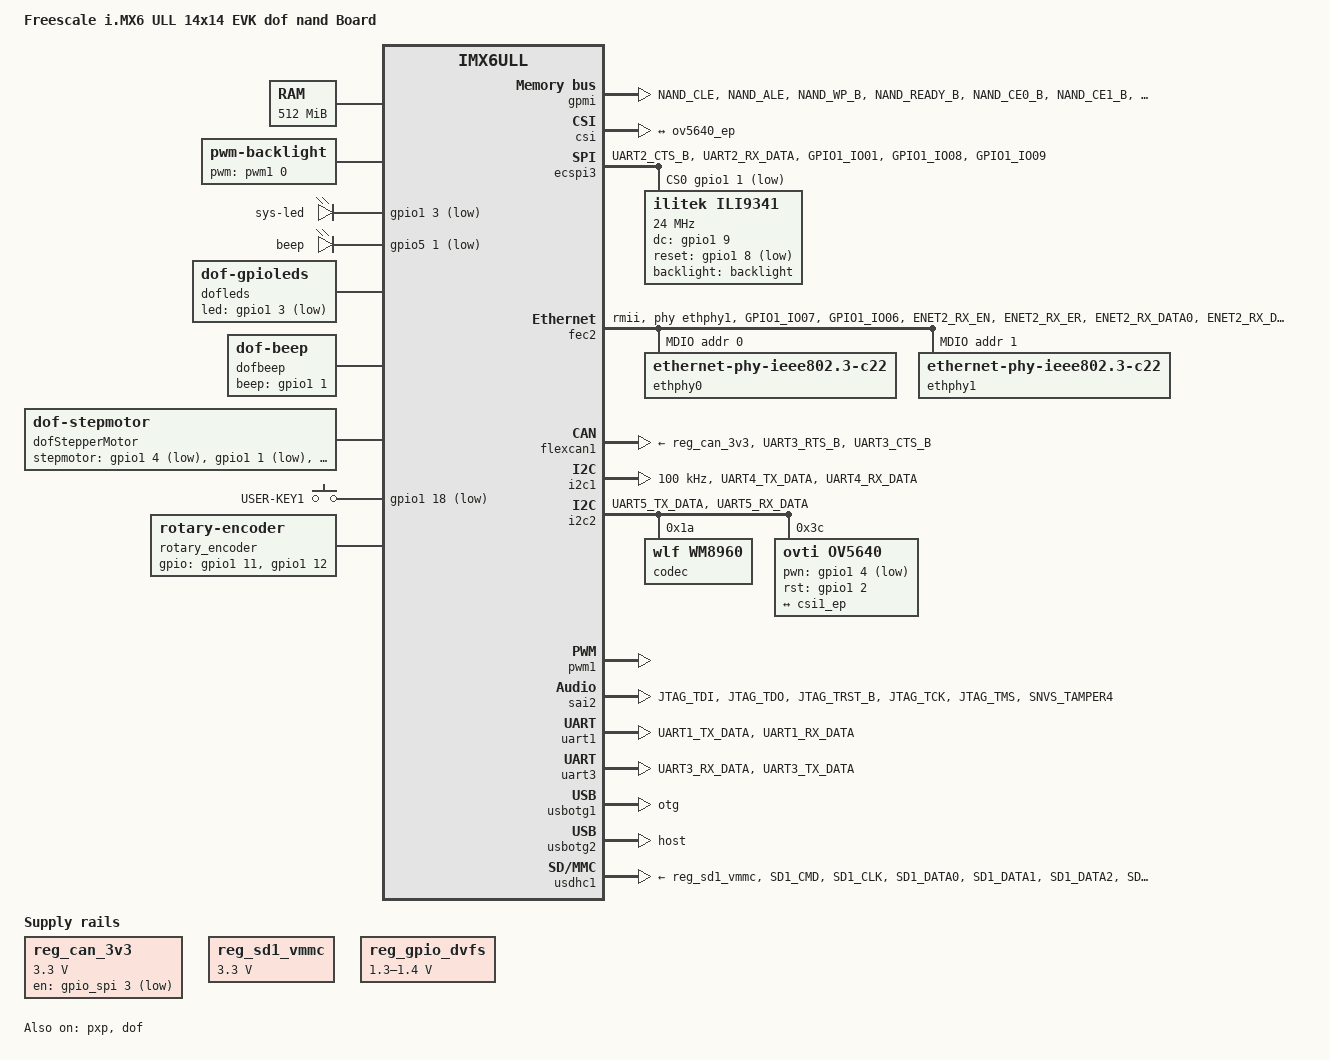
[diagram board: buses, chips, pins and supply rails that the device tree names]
/*
 * Copyright (C) 2016 Freescale Semiconductor, Inc.
 *
 * This program is free software; you can redistribute it and/or modify
 * it under the terms of the GNU General Public License version 2 as
 * published by the Free Software Foundation.
 */

/dts-v1/;

#include <dt-bindings/input/input.h>
#include "imx6ull.dtsi"

/ {
	model = "Freescale i.MX6 ULL 14x14 EVK dof nand Board";
	compatible = "fsl,imx6ull-14x14-evk-dof-nand", "fsl,imx6ull";

	chosen {
		stdout-path = &uart1;		 /*  确定终端输出console		chose 节点主要是为了uboot向linux 内核传递参数						*/
	};

	memory {
		reg = <0x80000000 0x20000000>;
	};

	reserved-memory {
		#address-cells = <1>;
		#size-cells = <1>;
		ranges;

		linux,cma {
			compatible = "shared-dma-pool";
			reusable;
			size = <0x8000000>;
			linux,cma-default;
		};
	};

	backlight: backlight {
		compatible = "pwm-backlight";
		pwms = <&pwm1 0 5000000>;
		brightness-levels = <0 4 8 16 32 64 128 255>;
		default-brightness-level = <6>;
		status = "okay";
	};

	pxp_v4l2 {
		compatible = "fsl,imx6ul-pxp-v4l2", "fsl,imx6sx-pxp-v4l2", "fsl,imx6sl-pxp-v4l2";
		status = "okay";	/*	设备状态信息		 okey：设备可操作性, disabled: 设备当前不可操作，但是未来可操作，如热插拔，具体含义看设备的绑定属性，fal：设备检测到错误，不可能变的可操作性，fal-sss： 含义和fail相同，sss标识错误内容			*/
	};

	regulators {
		compatible = "simple-bus";
		#address-cells = <1>;	 /*  子节点reg属性中地址信息所占的字长，  */
		#size-cells = <0>;		 /*   子节点reg 长度信息所占的字长*/

		reg_can_3v3: regulator@0 {
			compatible = "regulator-fixed";
			reg = <0>;
			regulator-name = "can-3v3";
			regulator-min-microvolt = <3300000>;
			regulator-max-microvolt = <3300000>;
			gpios = <&gpio_spi 3 GPIO_ACTIVE_LOW>;
		};

		reg_sd1_vmmc: regulator@1 {
			compatible = "regulator-fixed";
			regulator-name = "VSD_3V3";
			regulator-min-microvolt = <3300000>;
			regulator-max-microvolt = <3300000>;
			/* gpio = <&gpio1 9 GPIO_ACTIVE_HIGH>; */
			enable-active-high;
		};

		reg_gpio_dvfs: regulator-gpio {
			compatible = "regulator-gpio";
			pinctrl-names = "default";
			pinctrl-0 = <&pinctrl_dvfs>;
			regulator-min-microvolt = <1300000>;
			regulator-max-microvolt = <1400000>;
			regulator-name = "gpio_dvfs";
			regulator-type = "voltage";
			gpios = <&gpio5 3 GPIO_ACTIVE_HIGH>;
			states = <1300000 0x1 1400000 0x0>;
		};
	};

	leds {
		compatible = "gpio-leds";
		pinctrl-names = "default";
		pinctrl-0 = <&pinctrl_gpio_leds
				 &pinctrl_beep
				 >;

		led1{
			label = "sys-led";
			gpios = <&gpio1 3 GPIO_ACTIVE_LOW>;
			linux,default-trigger = "heartbeat";
			default-state = "off";
		};

		beep{
			label = "beep";
			gpios = <&gpio5 1 GPIO_ACTIVE_LOW>;
			default-state = "off";
		};

	};

	dof {
		#address-cells = <1>;
		#size-cells = <1>;
		compatible = "dof-led";
		status = "okay";
		reg = < 0X020C406C 0X04 /* CCM_CCGR1_BASE */
				0X020E0068 0X04 /* SW_MUX_GPIO1_IO03_BASE */
				0X020E02F4 0X04 /* SW_PAD_GPIO1_IO03_BASE */
				0X0209C000 0X04 /* GPIO1_DR_BASE */
				0X0209C004 0X04 >; /* GPIO1_GDIR_BASE */
	};

	dofleds {
		#address-cells = <1>;
		#size-cells = <1>;
		compatible = "dof-gpioleds";
		pinctrl-names = "default";
		pinctrl-0 = <&pinctrl_gpio_leds>;
		led-gpio = <&gpio1 3 GPIO_ACTIVE_LOW>;
		status = "okay";
	};

	dofbeep {
		#address-cells = <1>;
		#size-cells = <1>;
		compatible = "dof-beep";
		pinctrl-name = "default";
		pinctrl-0 = <&pinctrl_beep>;
		beep-gpio = <&gpio1 1 GPIO_ACTIVE_HIGH>;
		status = "okay";
	};

	red_led_pwm {
		compatible = "red_led,pwm";
		pinctrl-names = "default";
		pinctrl-0 = <&red_led_pwm>;

		back {
			pwm-names = "red_led_pwm";
			pwms = <&pwm3 0 50000>;  /* 使用 pwm3 0 50000ns 1/0.00005ms = 20kHz */
		};
	};

	dofStepperMotor {
		#address-cells = <1>;
		#size-cells = <1>;
		compatible = "dof-stepmotor";
		pinctrl-name = "default";
		pinctrl-0 = <&pinctrl_stepper>;
		stepmotor-gpios = <&gpio1 4 GPIO_ACTIVE_LOW>,
						  <&gpio1 1 GPIO_ACTIVE_LOW>,
						  <&gpio1 2 GPIO_ACTIVE_LOW>,
						  <&gpio1 3 GPIO_ACTIVE_LOW>;
		status = "okay";
	};

	gpio_keys {
		compatible = "gpio-keys";
		pinctrl-names = "default";
		pinctrl-0 = <&pinctrl_gpio_keys>;
		#address-cells = <1>;
		#size-cells = <0>;
		/* autorepeat;		重复功能 */

		key1 {
			label = "USER-KEY1";
			linux,code = <114>;
			gpios = <&gpio1 18 GPIO_ACTIVE_LOW>;
			/* gpio-key,wakeup; 唤醒事件 */
		};

		/* key2 {
			label = "USER-KEY2";
			linux,code = <115>;
			gpios = <&gpio1 9 GPIO_ACTIVE_LOW>;
			gpio-key,wakeup;
		}; */

	};

	/* 正交编码器 (GPIO A/B 相: GPIO1_IO11, GPIO1_IO12) */
	rotary_encoder: rotary-encoder@0 {
		compatible = "rotary-encoder";
		pinctrl-names = "default";
		pinctrl-0 = <&pinctrl_rotary>;
		gpios = <&gpio1 11 0>, <&gpio1 12 0>;  /* A相, B相 */
		linux,axis = <0>;   /* REL_X */
		rotary-encoder,relative-axis;  /* 相对轴，输出 +1/-1 事件 */
		/* 若需绝对轴可改为: rotary-encoder,steps = <24>; rotary-encoder,rollover; */
		status = "okay";
	};

	sound {
		compatible = "fsl,imx6ul-evk-wm8960",
			   "fsl,imx-audio-wm8960";		/*	与of_match_table 中的 of_device_id 中的compatible匹配		*/
		model = "wm8960-audio";			 /*  描述设备模块信息 */
		cpu-dai = <&sai2>;
		audio-codec = <&codec>;
		asrc-controller = <&asrc>;
		codec-master;
		gpr = <&gpr 4 0x100000 0x100000>;
		/*
				 * hp-det = <hp-det-pin hp-det-polarity>;
		 * hp-det-pin: JD1 JD2	or JD3
		 * hp-det-polarity = 0: hp detect high for headphone
		 * hp-det-polarity = 1: hp detect high for speaker
		 */
		hp-det = <3 0>;
		/* hp-det-gpios = <&gpio5 4 0>;
		   mic-det-gpios = <&gpio5 4 0>; */
		audio-routing =
			"Headphone Jack", "HP_L",
			"Headphone Jack", "HP_R",
			"Ext Spk", "SPK_LP",
			"Ext Spk", "SPK_LN",
			"Ext Spk", "SPK_RP",
			"Ext Spk", "SPK_RN",
			"LINPUT2", "Mic Jack",
			"LINPUT3", "Mic Jack",
			"RINPUT1", "Main MIC",
			"RINPUT2", "Main MIC",
			"Mic Jack", "MICB",
			"Main MIC", "MICB",
			"CPU-Playback", "ASRC-Playback",
			"Playback", "CPU-Playback",
			"ASRC-Capture", "CPU-Capture",
			"CPU-Capture", "Capture";
	};

	spi4 {
		compatible = "spi-gpio";
		pinctrl-names = "default";
		pinctrl-0 = <&pinctrl_spi4>;
		pinctrl-assert-gpios = <&gpio5 8 GPIO_ACTIVE_LOW>;
		status = "disabled";
		gpio-sck = <&gpio5 11 0>;
		gpio-mosi = <&gpio5 10 0>;
		cs-gpios = <&gpio5 7 0>;
		num-chipselects = <1>;
		#address-cells = <1>;
		#size-cells = <0>;

		gpio_spi: gpio_spi@0 {
			compatible = "fairchild,74hc595";
			gpio-controller;
			#gpio-cells = <2>;
			reg = <0>;
			registers-number = <1>;
			registers-default = /bits/ 8 <0x57>;
			spi-max-frequency = <100000>;
		};
	};
};


&gpmi {
	pinctrl-names = "default";
	pinctrl-0 = <&pinctrl_gpmi_nand>;
	status = "okay";
	nand-on-flash-bbt;

	compatible = "fsl,imx6ull-gpmi-nand", "fsl,imx-gpmi-nand"; /* 或其他具体的NAND兼容字符串 */
	#address-cells = <1>;
	#size-cells = <1>;

	compatible = "fsl,imx6ull-gpmi-nand", "fsl,imx-gpmi-nand"; /* 或其他具体的NAND兼容字符串 */
	#address-cells = <1>;
	#size-cells = <1>;

	partition@0 {
		label = "uboot_a";
		reg = <0x0 0x00800000>; /* 8MB for primary uboot */
	};
	partition@800000 {
		label = "uboot_b";
		reg = <0x00800000 0x00800000>; /* 8MB for backup uboot */
	};
	partition@1000000 {
		label = "kfd_a";
		reg = <0x01000000 0x02000000>; /* 32MB for primary kernel+fdt */
	};
	partition@3000000 {
		label = "kfd_b";
		reg = <0x03000000 0x02000000>; /* 32MB for backup kernel+fdt */
	};
	partition@5000000 {
		label = "tee_a";
		reg = <0x05000000 0x01000000>; /* 16MB for primary tee */
	};
	partition@6000000 {
		label = "tee_b";
		reg = <0x06000000 0x01000000>; /* 16MB for backup tee */
	};
	partition@7000000 {
		label = "env_a";
		reg = <0x07000000 0x00020000>; /* 128KB for primary env */
	};
	partition@7020000 {
		label = "env_b";
		reg = <0x07020000 0x00020000>; /* 128KB for backup env */
	};
	partition@7040000 {
		label = "rootfs_a";
		reg = <0x07040000 0x0AF00000>; /* 175MB for primary rootfs */
	};
	partition@11f40000 {
		label = "rootfs_b";
		reg = <0x11f40000 0x0AF00000>; /* 175MB for backup rootfs */
	};
	partition@1ce40000 {
		label = "date";
		reg = <0x1ce40000 0x03200000>; /* 50MB for user data */
	};

	/* 上面是linux 4.1.15 版本 兼容的分区方式， 下面是 高版本的分区方式
    nand@0 {
		reg = <0 0>;
        compatible = "fsl,imx6ull-gpmi-nand", "fsl,imx-gpmi-nand";
        #address-cells = <1>;
        #size-cells = <1>;

        partitions {
            compatible = "fixed-partitions";
            #address-cells = <1>;
            #size-cells = <1>;

            partition@0 {
                label = "uboot";
                reg = <0x0 0x04000000>;
            };
            partition@4000000 {
                label = "kernel";
                reg = <0x04000000 0x01000000>;
            };
            partition@5000000 {
                label = "dtb";
                reg = <0x05000000 0x01000000>;
            };
            partition@6000000 {
                label = "nandtee";
                reg = <0x06000000 0x01000000>;
		partition@7000000 {
                label = "rootfs";
                reg = <0x07000000 0>;
            };
        };
    };
    */
};



&cpu0 {
	arm-supply = <&reg_arm>;
	soc-supply = <&reg_soc>;
	dc-supply = <&reg_gpio_dvfs>;
};

&clks {
	assigned-clocks = <&clks IMX6UL_CLK_PLL4_AUDIO_DIV>;
	assigned-clock-rates = <722534400>;
};

&csi {
	status = "okay";

	port {
		csi1_ep: endpoint {
			remote-endpoint = <&ov5640_ep>;
		};
	};
};


&ecspi3 {
	status = "okay";
	pinctrl-names = "default";
	pinctrl-0 = <&pinctrl_ecspi3>;
	fsl,spi-num-chipselects = <1>;
	cs-gpios = <&gpio1 1 GPIO_ACTIVE_LOW>;

    ili9341@0 {
        compatible = "ilitek,ili9341"; /* 或 ilitek,ili9431（若驱动存在） */
        reg = <0>;
        spi-max-frequency = <24000000>;
		rotate = <90>;
        dc-gpios = <&gpio1 9 GPIO_ACTIVE_HIGH>;
        reset-gpios = <&gpio1 8 GPIO_ACTIVE_LOW>;
        buswidth = <8>;
        backlight = <&backlight>;
        bgr; /* R/B 颜色相反时加上此项，驱动会设置 MADCTL 的 BGR 位修正显示 */
    };
};

/* &ecspi3 {
		fsl,spi-num-chipselects = <1>;
		cs-gpio = <&gpio1 20 GPIO_ACTIVE_LOW>;
		pinctrl-names = "default";
		pinctrl-0 = <&pinctrl_ecspi3>;
		status = "okay";

	spidev: icm20608@0 {
	compatible = "dof,icm20608";
		spi-max-frequency = <8000000>;
		reg = <0>;
	};
}; */

/* &fec1 {
	pinctrl-names = "default";
	pinctrl-0 = <&pinctrl_enet1
			 &pinctrl_fec1_reset>;
	phy-mode = "rmii";
	phy-handle = <&ethphy0>;
	phy-reset-gpios = <&gpio5 7 GPIO_ACTIVE_LOW>;
	phy-reset-duration = <26>;
	status = "okay";
}; */

&fec2 {
	pinctrl-names = "default";
	pinctrl-0 = <&pinctrl_enet2
			 &pinctrl_fec2_reset>;
	phy-mode = "rmii";
	phy-handle = <&ethphy1>;
	phy-reset-gpios = <&gpio5 8 GPIO_ACTIVE_LOW>;
	phy-reset-duration = <26>;
	status = "okay";

	mdio {
		#address-cells = <1>;
		#size-cells = <0>;

		ethphy0: ethernet-phy@2 {
			compatible = "ethernet-phy-ieee802.3-c22";
			reg = <0>;
		};

		ethphy1: ethernet-phy@1 {
			compatible = "ethernet-phy-ieee802.3-c22";
			reg = <1>;
		};
	};
};

&flexcan1 {
	pinctrl-names = "default";
	pinctrl-0 = <&pinctrl_flexcan1>;
	xceiver-supply = <&reg_can_3v3>;
	status = "okay";
};

&flexcan2 {
	pinctrl-names = "default";
	pinctrl-0 = <&pinctrl_flexcan2>;
	xceiver-supply = <&reg_can_3v3>;
	status = "disabled";
};

&gpc {
	fsl,cpu_pupscr_sw2iso = <0x1>;
	fsl,cpu_pupscr_sw = <0x0>;
	fsl,cpu_pdnscr_iso2sw = <0x1>;
	fsl,cpu_pdnscr_iso = <0x1>;
	fsl,ldo-bypass = <0>; /* DCDC, ldo-enable */
};

&i2c1 {
	clock-frequency = <100000>;
	pinctrl-names = "default";
	pinctrl-0 = <&pinctrl_i2c1>;
	status = "okay";

	/* mag3110@0e {
		compatible = "fsl,mag3110";
		reg = <0x0e>;
		position = <2>;
	}; */

	/* oled: oled@3c {
		compatible = "solomon,ssd1306fb-i2c";
		reg = <0x3c>;
		solomon,width = <128>;
		solomon,height = <64>;
		solomon,page-offset = <0>;
		reset-gpios = <&gpio5 7 GPIO_ACTIVE_LOW>;
	}; */

	/* atm24c02@50 {
		compatible = "dof,atm24c02";
		reg = <0x50>;
	}; */

	/* hmc5883@1e {
		compatible = "dof,hmc5883";
		reg = <0x1e>;
	}; */
};

&i2c2 {
	clock_frequency = <100000>;
	pinctrl-names = "default";
	pinctrl-0 = <&pinctrl_i2c2>;
	status = "okay";

	codec: wm8960@1a {
		compatible = "wlf,wm8960";
		reg = <0x1a>;
		clocks = <&clks IMX6UL_CLK_SAI2>;
		clock-names = "mclk";
		wlf,shared-lrclk;
	};

	ov5640: ov5640@3c {
		compatible = "ovti,ov5640";
		reg = <0x3c>;
		pinctrl-names = "default";
		pinctrl-0 = <&pinctrl_csi1
				 &csi_pwn_rst>;
		clocks = <&clks IMX6UL_CLK_CSI>;
		clock-names = "csi_mclk";
		pwn-gpios = <&gpio1 4 1>;
		rst-gpios = <&gpio1 2 0>;
		csi_id = <0>;
		mclk = <24000000>;
		mclk_source = <0>;
		status = "okay";
		port {
			ov5640_ep: endpoint {
				remote-endpoint = <&csi1_ep>;
			};
		};
	};

	edt-ft5x06@38 {
		compatible = "edt,edt-ft5306", "edt,edt-ft5x06";
		pinctrl-names = "default";
		pinctrl-0 = <&ts_int_pin
				 &ts_reset_pin>;

		reg = <0x38>;
		interrupt-parent = <&gpio1>;
		interrupts = <9 0>;
		reset-gpios = <&gpio5 9 GPIO_ACTIVE_LOW>;

		status = "disabled";
	};

	goodix_ts@5d {
				compatible = "goodix,gt9xx";
				reg = <0x5d>;
				status = "disabled";
				interrupt-parent = <&gpio1>;
				interrupts = <9 0>;
				pinctrl-0 = <&ts_int_pin
				 &ts_reset_pin>;
		goodix,rst-gpio = <&gpio5 9  GPIO_ACTIVE_LOW>;
		goodix,irq-gpio = <&gpio1 9  GPIO_ACTIVE_LOW>;
	};
};

&iomuxc {
	pinctrl-names = "default";
	pinctrl-0 = <&pinctrl_hog_1>;
	imx6ul-evk {
		pinctrl_hog_1: hoggrp-1 {
			fsl,pins = <
				MX6UL_PAD_UART1_RTS_B__GPIO1_IO19	0x17059 /* SD1 CD */
				MX6UL_PAD_GPIO1_IO05__USDHC1_VSELECT	0x17059 /* SD1 VSELECT */
				MX6UL_PAD_GPIO1_IO00__ANATOP_OTG1_ID	0x13058 /* USB_OTG1_ID */
			>;
		};

		pinctrl_csi1: csi1grp {
			fsl,pins = <
				MX6UL_PAD_CSI_MCLK__CSI_MCLK		0x1b008
				MX6UL_PAD_CSI_PIXCLK__CSI_PIXCLK	0x1b008
				MX6UL_PAD_CSI_VSYNC__CSI_VSYNC		0x1b008
				MX6UL_PAD_CSI_HSYNC__CSI_HSYNC		0x1b008
				MX6UL_PAD_CSI_DATA00__CSI_DATA02	0x1b008
				MX6UL_PAD_CSI_DATA01__CSI_DATA03	0x1b008
				MX6UL_PAD_CSI_DATA02__CSI_DATA04	0x1b008
				MX6UL_PAD_CSI_DATA03__CSI_DATA05	0x1b008
				MX6UL_PAD_CSI_DATA04__CSI_DATA06	0x1b008
				MX6UL_PAD_CSI_DATA05__CSI_DATA07	0x1b008
				MX6UL_PAD_CSI_DATA06__CSI_DATA08	0x1b008
				MX6UL_PAD_CSI_DATA07__CSI_DATA09	0x1b008
			>;
		};

		pinctrl_enet1: enet1grp {
			fsl,pins = <
				MX6UL_PAD_ENET1_RX_EN__ENET1_RX_EN	0x1b0b0
				MX6UL_PAD_ENET1_RX_ER__ENET1_RX_ER	0x1b0b0
				MX6UL_PAD_ENET1_RX_DATA0__ENET1_RDATA00 0x1b0b0
				MX6UL_PAD_ENET1_RX_DATA1__ENET1_RDATA01 0x1b0b0
				MX6UL_PAD_ENET1_TX_EN__ENET1_TX_EN	0x1b0b0
				MX6UL_PAD_ENET1_TX_DATA0__ENET1_TDATA00 0x1b0b0
				MX6UL_PAD_ENET1_TX_DATA1__ENET1_TDATA01 0x1b0b0
				MX6UL_PAD_ENET1_TX_CLK__ENET1_REF_CLK1	0x4001b031
			>;
		};

		pinctrl_enet2: enet2grp {
			fsl,pins = <
				MX6UL_PAD_GPIO1_IO07__ENET2_MDC		0x1b0b0
				MX6UL_PAD_GPIO1_IO06__ENET2_MDIO	0x1b0b0
				MX6UL_PAD_ENET2_RX_EN__ENET2_RX_EN	0x1b0b0
				MX6UL_PAD_ENET2_RX_ER__ENET2_RX_ER	0x1b0b0
				MX6UL_PAD_ENET2_RX_DATA0__ENET2_RDATA00 0x1b0b0
				MX6UL_PAD_ENET2_RX_DATA1__ENET2_RDATA01 0x1b0b0
				MX6UL_PAD_ENET2_TX_EN__ENET2_TX_EN	0x1b0b0
				MX6UL_PAD_ENET2_TX_DATA0__ENET2_TDATA00 0x1b0b0
				MX6UL_PAD_ENET2_TX_DATA1__ENET2_TDATA01 0x1b0b0
				MX6UL_PAD_ENET2_TX_CLK__ENET2_REF_CLK2	0x4001b031
			>;
		};

		/* pinctrl_ecspi3: ecspi3grp {
			fsl,pins = <
				MX6UL_PAD_UART2_RTS_B__ECSPI3_MISO  0x100b1
				MX6UL_PAD_UART2_CTS_B__ECSPI3_MOSI  0x100b1
				MX6UL_PAD_UART2_RX_DATA__ECSPI3_SCLK 0x100b1
				MX6UL_PAD_UART2_TX_DATA__GPIO1_IO20  0x100b0
			>;
		}; */

		pinctrl_ecspi3: ecspi3grp {
			fsl,pins = <
				/* SPI 主控引脚 */
				MX6UL_PAD_UART2_CTS_B__ECSPI3_MOSI		0x100b1  /* MOSI*/
				MX6UL_PAD_UART2_RX_DATA__ECSPI3_SCLK	0x100b1  /* CLK*/
				
				/* 片选引脚 */
				MX6UL_PAD_GPIO1_IO01__GPIO1_IO01     0x100b1  /* CS */
				
				/* LCD 控制引脚 */
				MX6UL_PAD_GPIO1_IO08__GPIO1_IO08     0x100b1  /* RESET */
				MX6UL_PAD_GPIO1_IO09__GPIO1_IO09     0x100b1  /* DC/RS */
				
				/* 背光控制（可选） */
				/* MX6UL_PAD_GPIO1_IO10__GPIO1_IO10     0x100b1 */  /* BL */
			>;
		};

		pinctrl_gpio_leds: gpio-leds {
 			fsl,pins = <
 				MX6UL_PAD_GPIO1_IO03__GPIO1_IO03	0x17059
 				/* MX6UL_PAD_UART5_TX_DATA__GPIO1_IO30 0x17059 */
 			>;
		};

		pinctrl_gpio_keys: gpio-keys {
			fsl,pins = <
				MX6UL_PAD_UART1_CTS_B__GPIO1_IO18	0xF080
			>;
		};

		pinctrl_flexcan1: flexcan1grp{
			fsl,pins = <
				MX6UL_PAD_UART3_RTS_B__FLEXCAN1_RX	0x1b020
				MX6UL_PAD_UART3_CTS_B__FLEXCAN1_TX	0x1b020
			>;
		};

		pinctrl_flexcan2: flexcan2grp{
			fsl,pins = <
				MX6UL_PAD_UART2_RTS_B__FLEXCAN2_RX	0x1b020
				MX6UL_PAD_UART2_CTS_B__FLEXCAN2_TX	0x1b020
			>;
		};

		pinctrl_i2c1: i2c1grp {
			fsl,pins = <
				MX6UL_PAD_UART4_TX_DATA__I2C1_SCL 0x4001b8b0
				MX6UL_PAD_UART4_RX_DATA__I2C1_SDA 0x4001b8b0
			>;
		};

		pinctrl_i2c2: i2c2grp {
			fsl,pins = <
				MX6UL_PAD_UART5_TX_DATA__I2C2_SCL 0x4001b8b0
				MX6UL_PAD_UART5_RX_DATA__I2C2_SDA 0x4001b8b0
			>;
		};

		/* pinctrl_lcdif_dat: lcdifdatgrp {
			fsl,pins = <
				MX6UL_PAD_LCD_DATA00__LCDIF_DATA00	0x18
				MX6UL_PAD_LCD_DATA01__LCDIF_DATA01	0x18
				MX6UL_PAD_LCD_DATA02__LCDIF_DATA02	0x18
				MX6UL_PAD_LCD_DATA03__LCDIF_DATA03	0x18
				MX6UL_PAD_LCD_DATA04__LCDIF_DATA04	0x18
				MX6UL_PAD_LCD_DATA05__LCDIF_DATA05	0x18
				MX6UL_PAD_LCD_DATA06__LCDIF_DATA06	0x18
				MX6UL_PAD_LCD_DATA07__LCDIF_DATA07	0x18
				MX6UL_PAD_LCD_DATA08__LCDIF_DATA08	0x18
				MX6UL_PAD_LCD_DATA09__LCDIF_DATA09	0x18
				MX6UL_PAD_LCD_DATA10__LCDIF_DATA10	0x18
				MX6UL_PAD_LCD_DATA11__LCDIF_DATA11	0x18
				MX6UL_PAD_LCD_DATA12__LCDIF_DATA12	0x18
				MX6UL_PAD_LCD_DATA13__LCDIF_DATA13	0x18
				MX6UL_PAD_LCD_DATA14__LCDIF_DATA14	0x18
				MX6UL_PAD_LCD_DATA15__LCDIF_DATA15	0x18
				MX6UL_PAD_LCD_DATA16__LCDIF_DATA16	0x18
				MX6UL_PAD_LCD_DATA17__LCDIF_DATA17	0x18
				MX6UL_PAD_LCD_DATA18__LCDIF_DATA18	0x18
				MX6UL_PAD_LCD_DATA19__LCDIF_DATA19	0x18
				MX6UL_PAD_LCD_DATA20__LCDIF_DATA20	0x18
				MX6UL_PAD_LCD_DATA21__LCDIF_DATA21	0x18
				MX6UL_PAD_LCD_DATA22__LCDIF_DATA22	0x18
				MX6UL_PAD_LCD_DATA23__LCDIF_DATA23	0x18
			>;
		};

		pinctrl_lcdif_ctrl: lcdifctrlgrp {
			fsl,pins = <
				MX6UL_PAD_LCD_CLK__LCDIF_CLK		0x18
				MX6UL_PAD_LCD_ENABLE__LCDIF_ENABLE	0x18
				MX6UL_PAD_LCD_HSYNC__LCDIF_HSYNC	0x18
				MX6UL_PAD_LCD_VSYNC__LCDIF_VSYNC	0x18
			>;
		}; */

		pinctrl_pwm1: pwm1grp {
			fsl,pins = <
				/* MX6UL_PAD_GPIO1_IO08__PWM1_OUT	 0x110b0 */
			>;
		};

		red_led_pwm: ledsgrp {
			fsl,pins = <
				MX6UL_PAD_GPIO1_IO04__PWM3_OUT 0x1b088
			>;
		};

		pinctrl_qspi: qspigrp {
			fsl,pins = <
				MX6UL_PAD_NAND_WP_B__QSPI_A_SCLK	  0x70a1
				MX6UL_PAD_NAND_READY_B__QSPI_A_DATA00 0x70a1
				MX6UL_PAD_NAND_CE0_B__QSPI_A_DATA01   0x70a1
				MX6UL_PAD_NAND_CE1_B__QSPI_A_DATA02   0x70a1
				MX6UL_PAD_NAND_CLE__QSPI_A_DATA03	  0x70a1
				MX6UL_PAD_NAND_DQS__QSPI_A_SS0_B	  0x70a1
			>;
		};

		pinctrl_sai2: sai2grp {
			fsl,pins = <
				MX6UL_PAD_JTAG_TDI__SAI2_TX_BCLK	0x17088
				MX6UL_PAD_JTAG_TDO__SAI2_TX_SYNC	0x17088
				MX6UL_PAD_JTAG_TRST_B__SAI2_TX_DATA 0x11088
				MX6UL_PAD_JTAG_TCK__SAI2_RX_DATA	0x11088
				MX6UL_PAD_JTAG_TMS__SAI2_MCLK		0x17088
			>;
		};

		pinctrl_tsc: tscgrp {
			fsl,pins = <
				/* MX6UL_PAD_GPIO1_IO01__GPIO1_IO01	0xb0 */
				MX6UL_PAD_GPIO1_IO02__GPIO1_IO02	0xb0
				MX6UL_PAD_GPIO1_IO03__GPIO1_IO03	0xb0
				MX6UL_PAD_GPIO1_IO04__GPIO1_IO04	0xb0
			>;
		};

		pinctrl_rotary: rotarygrp {
			fsl,pins = <
				MX6UL_PAD_JTAG_TMS__GPIO1_IO11	0x17059
				MX6UL_PAD_JTAG_TDO__GPIO1_IO12	0x17059
			>;
		};

		pinctrl_uart1: uart1grp {
			fsl,pins = <
				MX6UL_PAD_UART1_TX_DATA__UART1_DCE_TX 0x1b0b1
				MX6UL_PAD_UART1_RX_DATA__UART1_DCE_RX 0x1b0b1
			>;
		};

		pinctrl_uart2: uart2grp {
			fsl,pins = <
				MX6UL_PAD_UART2_TX_DATA__UART2_DCE_TX	0x1b0b1
				MX6UL_PAD_UART2_RX_DATA__UART2_DCE_RX	0x1b0b1
				MX6UL_PAD_UART3_RX_DATA__UART2_DCE_RTS	0x1b0b1
				MX6UL_PAD_UART3_TX_DATA__UART2_DCE_CTS	0x1b0b1
			>;
		};

		pinctrl_uart2dte: uart2dtegrp {
			fsl,pins = <
				MX6UL_PAD_UART2_TX_DATA__UART2_DTE_RX	0x1b0b1
				MX6UL_PAD_UART2_RX_DATA__UART2_DTE_TX	0x1b0b1
				MX6UL_PAD_UART3_RX_DATA__UART2_DTE_CTS	0x1b0b1
				MX6UL_PAD_UART3_TX_DATA__UART2_DTE_RTS	0x1b0b1
			>;
		};

		pinctrl_uart3: uart3grp {
			fsl,pins = <
				MX6UL_PAD_UART3_RX_DATA__UART3_DCE_RX	0x1b0b1
				MX6UL_PAD_UART3_TX_DATA__UART3_DCE_TX	0x1b0b1
			>;
		};

		pinctrl_usdhc1: usdhc1grp {
			fsl,pins = <
				MX6UL_PAD_SD1_CMD__USDHC1_CMD	  0x17059
				MX6UL_PAD_SD1_CLK__USDHC1_CLK	  0x10071
				MX6UL_PAD_SD1_DATA0__USDHC1_DATA0 0x17059
				MX6UL_PAD_SD1_DATA1__USDHC1_DATA1 0x17059
				MX6UL_PAD_SD1_DATA2__USDHC1_DATA2 0x17059
				MX6UL_PAD_SD1_DATA3__USDHC1_DATA3 0x17059
			>;
		};

		pinctrl_usdhc1_100mhz: usdhc1grp100mhz {
			fsl,pins = <
				MX6UL_PAD_SD1_CMD__USDHC1_CMD	  0x170b9
				MX6UL_PAD_SD1_CLK__USDHC1_CLK	  0x100b9
				MX6UL_PAD_SD1_DATA0__USDHC1_DATA0 0x170b9
				MX6UL_PAD_SD1_DATA1__USDHC1_DATA1 0x170b9
				MX6UL_PAD_SD1_DATA2__USDHC1_DATA2 0x170b9
				MX6UL_PAD_SD1_DATA3__USDHC1_DATA3 0x170b9
			>;
		};

		pinctrl_usdhc1_200mhz: usdhc1grp200mhz {
			fsl,pins = <
				MX6UL_PAD_SD1_CMD__USDHC1_CMD	  0x170f9
				MX6UL_PAD_SD1_CLK__USDHC1_CLK	  0x100f9
				MX6UL_PAD_SD1_DATA0__USDHC1_DATA0 0x170f9
				MX6UL_PAD_SD1_DATA1__USDHC1_DATA1 0x170f9
				MX6UL_PAD_SD1_DATA2__USDHC1_DATA2 0x170f9
				MX6UL_PAD_SD1_DATA3__USDHC1_DATA3 0x170f9
			>;
		};

		pinctrl_usdhc2: usdhc2grp {
			fsl,pins = <
				MX6UL_PAD_NAND_RE_B__USDHC2_CLK		0x10069
				MX6UL_PAD_NAND_WE_B__USDHC2_CMD		0x17059
				MX6UL_PAD_NAND_DATA00__USDHC2_DATA0 0x17059
				MX6UL_PAD_NAND_DATA01__USDHC2_DATA1 0x17059
				MX6UL_PAD_NAND_DATA02__USDHC2_DATA2 0x17059
				MX6UL_PAD_NAND_DATA03__USDHC2_DATA3 0x17059
			>;
		};

		pinctrl_usdhc2_8bit: usdhc2grp_8bit {
			fsl,pins = <
				MX6UL_PAD_NAND_RE_B__USDHC2_CLK		0x10069
				MX6UL_PAD_NAND_WE_B__USDHC2_CMD		0x17059
				MX6UL_PAD_NAND_DATA00__USDHC2_DATA0 0x17059
				MX6UL_PAD_NAND_DATA01__USDHC2_DATA1 0x17059
				MX6UL_PAD_NAND_DATA02__USDHC2_DATA2 0x17059
				MX6UL_PAD_NAND_DATA03__USDHC2_DATA3 0x17059
				MX6UL_PAD_NAND_DATA04__USDHC2_DATA4 0x17059
				MX6UL_PAD_NAND_DATA05__USDHC2_DATA5 0x17059
				MX6UL_PAD_NAND_DATA06__USDHC2_DATA6 0x17059
				MX6UL_PAD_NAND_DATA07__USDHC2_DATA7 0x17059
			>;
		};

		pinctrl_usdhc2_8bit_100mhz: usdhc2grp_8bit_100mhz {
			fsl,pins = <
				MX6UL_PAD_NAND_RE_B__USDHC2_CLK		0x100b9
				MX6UL_PAD_NAND_WE_B__USDHC2_CMD		0x170b9
				MX6UL_PAD_NAND_DATA00__USDHC2_DATA0 0x170b9
				MX6UL_PAD_NAND_DATA01__USDHC2_DATA1 0x170b9
				MX6UL_PAD_NAND_DATA02__USDHC2_DATA2 0x170b9
				MX6UL_PAD_NAND_DATA03__USDHC2_DATA3 0x170b9
				MX6UL_PAD_NAND_DATA04__USDHC2_DATA4 0x170b9
				MX6UL_PAD_NAND_DATA05__USDHC2_DATA5 0x170b9
				MX6UL_PAD_NAND_DATA06__USDHC2_DATA6 0x170b9
				MX6UL_PAD_NAND_DATA07__USDHC2_DATA7 0x170b9
			>;
		};

		pinctrl_usdhc2_8bit_200mhz: usdhc2grp_8bit_200mhz {
			fsl,pins = <
				MX6UL_PAD_NAND_RE_B__USDHC2_CLK		0x100f9
				MX6UL_PAD_NAND_WE_B__USDHC2_CMD		0x170f9
				MX6UL_PAD_NAND_DATA00__USDHC2_DATA0 0x170f9
				MX6UL_PAD_NAND_DATA01__USDHC2_DATA1 0x170f9
				MX6UL_PAD_NAND_DATA02__USDHC2_DATA2 0x170f9
				MX6UL_PAD_NAND_DATA03__USDHC2_DATA3 0x170f9
				MX6UL_PAD_NAND_DATA04__USDHC2_DATA4 0x170f9
				MX6UL_PAD_NAND_DATA05__USDHC2_DATA5 0x170f9
				MX6UL_PAD_NAND_DATA06__USDHC2_DATA6 0x170f9
				MX6UL_PAD_NAND_DATA07__USDHC2_DATA7 0x170f9
			>;
		};

		pinctrl_wdog: wdoggrp {
			fsl,pins = <
				MX6UL_PAD_LCD_RESET__WDOG1_WDOG_ANY    0x30b0
			>;
		};

		ts_int_pin: ts_int_pin_mux {
			fsl,pins = <
				/* MX6UL_PAD_GPIO1_IO09__GPIO1_IO09	0x18 */
			>;
		};

		csi_pwn_rst: csi_pwn_rstgrp {
			fsl,pins = <
				MX6UL_PAD_GPIO1_IO02__GPIO1_IO02	0x10b0
				MX6UL_PAD_GPIO1_IO04__GPIO1_IO04	0x10b0
			>;
		};
	};

	imx6ull-evk-gpmi-rework {
		pinctrl_gpmi_nand: gpmi-nand {
			fsl,pins = <
				MX6UL_PAD_NAND_CLE__RAWNAND_CLE         0xb0b1
				MX6UL_PAD_NAND_ALE__RAWNAND_ALE         0xb0b1
				MX6UL_PAD_NAND_WP_B__RAWNAND_WP_B       0xb0b1
				MX6UL_PAD_NAND_READY_B__RAWNAND_READY_B 0xb000
				MX6UL_PAD_NAND_CE0_B__RAWNAND_CE0_B     0xb0b1
				MX6UL_PAD_NAND_CE1_B__RAWNAND_CE1_B     0xb0b1
				MX6UL_PAD_NAND_RE_B__RAWNAND_RE_B       0xb0b1
				MX6UL_PAD_NAND_WE_B__RAWNAND_WE_B       0xb0b1
				MX6UL_PAD_NAND_DATA00__RAWNAND_DATA00   0xb0b1
				MX6UL_PAD_NAND_DATA01__RAWNAND_DATA01   0xb0b1
				MX6UL_PAD_NAND_DATA02__RAWNAND_DATA02   0xb0b1
				MX6UL_PAD_NAND_DATA03__RAWNAND_DATA03   0xb0b1
				MX6UL_PAD_NAND_DATA04__RAWNAND_DATA04   0xb0b1
				MX6UL_PAD_NAND_DATA05__RAWNAND_DATA05   0xb0b1
				MX6UL_PAD_NAND_DATA06__RAWNAND_DATA06   0xb0b1
				MX6UL_PAD_NAND_DATA07__RAWNAND_DATA07   0xb0b1
			>;
		};
	};
};

&iomuxc_snvs {
	pinctrl-names = "default_snvs";
		pinctrl-0 = <&pinctrl_hog_2>;
		imx6ul-evk {
		pinctrl_hog_2: hoggrp-2 {
						fsl,pins = <
								MX6ULL_PAD_SNVS_TAMPER0__GPIO5_IO00		 0x80000000
						>;
				};

		pinctrl_dvfs: dvfsgrp {
						fsl,pins = <
								MX6ULL_PAD_SNVS_TAMPER3__GPIO5_IO03		 0x79
						>;
				};
		
		pinctrl_lcdif_reset: lcdifresetgrp {
						fsl,pins = <
								/* used for lcd reset */
								MX6ULL_PAD_SNVS_TAMPER9__GPIO5_IO09  0x18
						>;
				};

		pinctrl_spi4: spi4grp {
						fsl,pins = <
								MX6ULL_PAD_BOOT_MODE0__GPIO5_IO10		 0x70a1
								MX6ULL_PAD_BOOT_MODE1__GPIO5_IO11		 0x70a1
								MX6ULL_PAD_SNVS_TAMPER7__GPIO5_IO07		 0x70a1
								MX6ULL_PAD_SNVS_TAMPER8__GPIO5_IO08		 0x80000000
						>;
				};

		pinctrl_fec1_reset: fec1_resetgrp {
			fsl,pins = <
				MX6ULL_PAD_SNVS_TAMPER7__GPIO5_IO07 0x79
			>;
		};

		pinctrl_fec2_reset: fec2_resetgrp {
			fsl,pins = <
				MX6ULL_PAD_SNVS_TAMPER8__GPIO5_IO08 0x79
			>;
		};

				pinctrl_sai2_hp_det_b: sai2_hp_det_grp {
						fsl,pins = <
								MX6ULL_PAD_SNVS_TAMPER4__GPIO5_IO04   0x17059
						>;
				};

		ts_reset_pin: ts_reset_pin_mux {
			fsl,pins = <
				MX6ULL_PAD_SNVS_TAMPER9__GPIO5_IO09 0x18
			>;
		};

		pinctrl_beep: beep {
			fsl,pins = <
				MX6ULL_PAD_SNVS_TAMPER1__GPIO5_IO01 0x17059
			>;
		};

		pinctrl_stepper: step_motor {
			fsl,pins = <
				MX6UL_PAD_GPIO1_IO04__GPIO1_IO04	0x17059
				/* MX6UL_PAD_GPIO1_IO01__GPIO1_IO01	0x17059 */
				MX6UL_PAD_GPIO1_IO02__GPIO1_IO02	0x17059
				MX6UL_PAD_GPIO1_IO03__GPIO1_IO03	0x17059
			>;
		};


	};
};


/* &lcdif {
	pinctrl-names = "default";
	pinctrl-0 = <&pinctrl_lcdif_dat
			 &pinctrl_lcdif_ctrl>;
	display = <&display0>;
	status = "disabled";

	display0: display {
		bits-per-pixel = <16>;
		bus-width = <24>;

		display-timings {
			native-mode = <&timing0>;
			timing0: timing0 {
				clock-frequency = <35500000>;
				hactive = <800>;
				vactive = <480>;
				hfront-porch = <210>;
				hback-porch = <46>;
				hsync-len = <20>;
				vback-porch = <23>;
				vfront-porch = <22>;
				vsync-len = <3>;

				hsync-active = <0>;
				vsync-active = <0>;
				de-active = <1>;
				pixelclk-active = <1>;
			};
		};
	};
}; */

&pwm1 {
	pinctrl-names = "default";
	pinctrl-0 = <&pinctrl_pwm1>;
	status = "okay";
};

&pxp {
	status = "okay";
};

&qspi {
	pinctrl-names = "default";
	pinctrl-0 = <&pinctrl_qspi>;
	status = "okay";
	ddrsmp=<0>;

	flash0: n25q256a@0 {
		#address-cells = <1>;
		#size-cells = <1>;
		compatible = "micron,n25q256a";
		spi-max-frequency = <29000000>;
		spi-nor,ddr-quad-read-dummy = <6>;
		reg = <0>;
	};
};

&sai2 {
	pinctrl-names = "default";
	pinctrl-0 = <&pinctrl_sai2
			 &pinctrl_sai2_hp_det_b>;

	assigned-clocks = <&clks IMX6UL_CLK_SAI2_SEL>,
			  <&clks IMX6UL_CLK_SAI2>;
	assigned-clock-parents = <&clks IMX6UL_CLK_PLL4_AUDIO_DIV>;
	assigned-clock-rates = <0>, <11289600>;

	status = "okay";
};

&tsc {
	pinctrl-names = "default";
	pinctrl-0 = <&pinctrl_tsc>;
	xnur-gpio = <&gpio1 3 GPIO_ACTIVE_LOW>;
	measure-delay-time = <0xffff>;
	pre-charge-time = <0xfff>;
	status = "disabled";
};

&uart1 {
	pinctrl-names = "default";
	pinctrl-0 = <&pinctrl_uart1>;
	status = "okay";
};

&uart2 {
	pinctrl-names = "default";
	pinctrl-0 = <&pinctrl_uart2>;
	fsl,uart-has-rtscts;
	/* for DTE mode, add below change */
	/* fsl,dte-mode; */
	/* pinctrl-0 = <&pinctrl_uart2dte>; */
	status = "disabled";
};

&uart3 {
	pinctrl-names = "default";
	pinctrl-0 = <&pinctrl_uart3>;
	status = "okay";
};

&usbotg1 {
	dr_mode = "otg";
	srp-disable;
	hnp-disable;
	adp-disable;
	status = "okay";
};

&usbotg2 {
	dr_mode = "host";
	disable-over-current;
	status = "okay";
};

&usbphy1 {
	tx-d-cal = <0x5>;
};

&usbphy2 {
	tx-d-cal = <0x5>;
};

&usdhc1 {
	pinctrl-names = "default", "state_100mhz", "state_200mhz";
	pinctrl-0 = <&pinctrl_usdhc1>;
	pinctrl-1 = <&pinctrl_usdhc1_100mhz>;
	pinctrl-2 = <&pinctrl_usdhc1_200mhz>;
	cd-gpios = <&gpio1 19 GPIO_ACTIVE_LOW>;
	keep-power-in-suspend;
	enable-sdio-wakeup;
	vmmc-supply = <&reg_sd1_vmmc>;
	no-1-8-v;
	status = "okay";
};

/* &usdhc2 {
	pinctrl-names = "default";
	pinctrl-0 = <&pinctrl_usdhc2>;
	non-removable;
	status = "okay";
}; */

&wdog1 {
	pinctrl-names = "default";
	pinctrl-0 = <&pinctrl_wdog>;
	fsl,wdog_b;
};


&qspi {
	status = "disabled";
};

&usdhc2 {
	status = "disabled";
};
